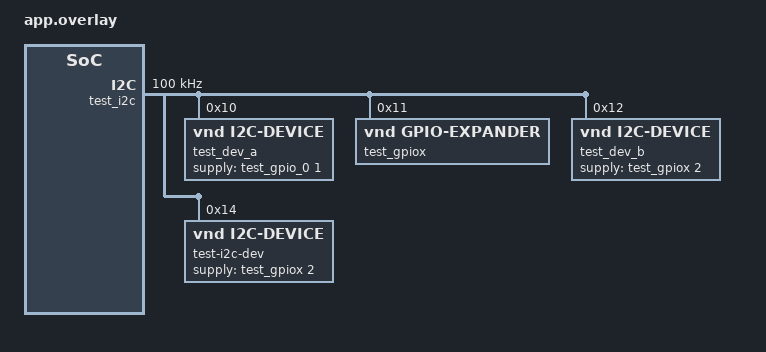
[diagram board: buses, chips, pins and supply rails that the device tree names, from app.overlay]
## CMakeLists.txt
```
# SPDX-License-Identifier: Apache-2.0

cmake_minimum_required(VERSION 3.20.0)

find_package(Zephyr REQUIRED HINTS $ENV{ZEPHYR_BASE})
project(devicetree_devices)

FILE(GLOB app_sources src/*.c)
target_sources(app PRIVATE ${app_sources})
```

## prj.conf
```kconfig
CONFIG_ZTEST=y
CONFIG_I2C=n
CONFIG_DEVICE_DEPS=y
CONFIG_CHECK_INIT_PRIORITIES=n
```

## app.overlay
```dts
/*
 * Copyright (c) 2020 Nordic Semiconductor ASA
 *
 * SPDX-License-Identifier: Apache-2.0
 *
 * Application overlay for testing the devicetree.h API.
 *
 * Names in this file should be chosen in a way that won't conflict
 * with real-world devicetree nodes, to allow these tests to run on
 * (and be extended to test) real hardware.
 */

/ {
	test {
		#address-cells = <0x1>;
		#size-cells = <0x1>;

		test_gpio_0: gpio@ffff {
			gpio-controller;
			#gpio-cells = <0x2>;
			compatible = "vnd,gpio-device";
			status = "okay";
			reg = <0xffff 0x1000>;
		};

		test_i2c: i2c@11112222 {
			#address-cells = <1>;
			#size-cells = <0>;
			compatible = "vnd,i2c";
			status = "okay";
			reg = <0x11112222 0x1000>;
			clock-frequency = <100000>;

			test_dev_a: test-i2c-dev@10 {
				compatible = "vnd,i2c-device";
				status = "okay";
				reg = <0x10>;
				supply-gpios = <&test_gpio_0 1 0>;
			};

			test_gpiox: test-i2c-dev@11 {
				gpio-controller;
				#gpio-cells = <2>;
				compatible = "vnd,gpio-expander";
				status = "okay";
				reg = <0x11>;
			};

			test_dev_b: test-i2c-dev@12 {
				compatible = "vnd,i2c-device";
				status = "okay";
				reg = <0x12>;
				supply-gpios = <&test_gpiox 2 0>;
			};

			test_dev_c: test-i2c-dev@13 {
				compatible = "vnd,i2c-device";
				reg = <0x13>;
				status = "disabled";

				partitions {
					compatible = "fixed-partitions";
					#address-cells = <1>;
					#size-cells = <1>;

					test_p0: partition@0 {
						label = "partition-0";
						reg = <0x00000000 0x0000C000>;
					};
					test_p1: partition@c000 {
						label = "partition-1";
						reg = <0x0000C000 0x00067000>;
					};
				};
			};

			test-i2c-dev@14 {
				compatible = "vnd,i2c-device";
				status = "okay";
				reg = <0x14>;
				supply-gpios = <&test_gpiox 2 0>;
			};
		};

		test_gpio_injected: gpio@1000 {
			gpio-controller;
			#gpio-cells = <0x2>;
			compatible = "vnd,gpio-device";
			status = "okay";
			reg = <0x1000 0x1000>;
		};
	};
};
```

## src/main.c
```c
/*
 * Copyright (c) 2020 Nordic Semiconductor ASA
 *
 * SPDX-License-Identifier: Apache-2.0
 */

#include <zephyr/ztest.h>
#include <zephyr/devicetree.h>
#include <zephyr/device.h>
#include <zephyr/drivers/gpio.h>

#define TEST_GPIO DT_NODELABEL(test_gpio_0)
#define TEST_I2C DT_NODELABEL(test_i2c)
#define TEST_DEVA DT_NODELABEL(test_dev_a)
#define TEST_GPIOX DT_NODELABEL(test_gpiox)
#define TEST_DEVB DT_NODELABEL(test_dev_b)
#define TEST_DEVC DT_NODELABEL(test_dev_c)
#define TEST_PARTITION DT_NODELABEL(test_p0)
#define TEST_GPIO_INJECTED DT_NODELABEL(test_gpio_injected)
#define TEST_NOLABEL DT_PATH(test, i2c_11112222, test_i2c_dev_14)

static const struct device *devlist;
static const struct device *devlist_end;

static device_handle_t init_order[10];

static int dev_init(const struct device *dev)
{
	static uint8_t init_idx;

	__ASSERT_NO_MSG(init_idx < ARRAY_SIZE(init_order));
	init_order[init_idx++] = device_handle_get(dev);

	return 0;
}

DEVICE_DT_DEFINE(TEST_GPIO, dev_init, NULL,
		 NULL, NULL, PRE_KERNEL_1, 90, NULL);
DEVICE_DT_DEFINE(TEST_I2C, dev_init, NULL,
		 NULL, NULL, POST_KERNEL, 10, NULL);
DEVICE_DT_DEFINE(TEST_DEVA, dev_init, NULL,
		 NULL, NULL, POST_KERNEL, 20, NULL);
/* NB: Intentional init devb before required gpiox */
DEVICE_DT_DEFINE(TEST_DEVB, dev_init, NULL,
		 NULL, NULL, POST_KERNEL, 30, NULL);
DEVICE_DT_DEFINE(TEST_GPIOX, dev_init, NULL,
		 NULL, NULL, POST_KERNEL, 40, NULL);
DEVICE_DT_DEFINE(TEST_DEVC, dev_init, NULL,
		 NULL, NULL, POST_KERNEL, 50, NULL);
DEVICE_DT_DEFINE(TEST_PARTITION, dev_init, NULL,
		 NULL, NULL, POST_KERNEL, 60, NULL);
/* Device with both an existing and missing injected dependency */
DEVICE_DT_DEFINE(TEST_GPIO_INJECTED, dev_init, NULL,
		 NULL, NULL, POST_KERNEL, 70, NULL, DT_DEP_ORD(TEST_DEVB), 999);
/* Manually specified device */
DEVICE_DEFINE(manual_dev, "Manual Device", dev_init, NULL,
		 NULL, NULL, POST_KERNEL, 80, NULL);
/* Device with no nodelabel */
DEVICE_DT_DEFINE(TEST_NOLABEL, dev_init, NULL,
		 NULL, NULL, POST_KERNEL, 90, NULL);

#define DEV_HDL(node_id) device_handle_get(DEVICE_DT_GET(node_id))
#define DEV_HDL_NAME(name) device_handle_get(DEVICE_GET(name))

ZTEST(devicetree_devices, test_init_get)
{
	/* Check device pointers */
	zassert_equal(DEVICE_INIT_DT_GET(TEST_GPIO)->dev,
		      DEVICE_DT_GET(TEST_GPIO), NULL);
	zassert_equal(DEVICE_INIT_DT_GET(TEST_I2C)->dev,
		      DEVICE_DT_GET(TEST_I2C), NULL);
	zassert_equal(DEVICE_INIT_DT_GET(TEST_DEVA)->dev,
		      DEVICE_DT_GET(TEST_DEVA), NULL);
	zassert_equal(DEVICE_INIT_DT_GET(TEST_DEVB)->dev,
		      DEVICE_DT_GET(TEST_DEVB), NULL);
	zassert_equal(DEVICE_INIT_DT_GET(TEST_GPIOX)->dev,
		      DEVICE_DT_GET(TEST_GPIOX), NULL);
	zassert_equal(DEVICE_INIT_DT_GET(TEST_DEVC)->dev,
		      DEVICE_DT_GET(TEST_DEVC), NULL);
	zassert_equal(DEVICE_INIT_DT_GET(TEST_PARTITION)->dev,
		      DEVICE_DT_GET(TEST_PARTITION), NULL);
	zassert_equal(DEVICE_INIT_DT_GET(TEST_GPIO_INJECTED)->dev,
		      DEVICE_DT_GET(TEST_GPIO_INJECTED), NULL);
	zassert_equal(DEVICE_INIT_GET(manual_dev)->dev,
		      DEVICE_GET(manual_dev), NULL);
	zassert_equal(DEVICE_INIT_DT_GET(TEST_NOLABEL)->dev,
		      DEVICE_DT_GET(TEST_NOLABEL), NULL);

	/* Check init functions */
	zassert_equal(DEVICE_INIT_DT_GET(TEST_GPIO)->init_fn.dev, dev_init);
	zassert_equal(DEVICE_INIT_DT_GET(TEST_I2C)->init_fn.dev, dev_init);
	zassert_equal(DEVICE_INIT_DT_GET(TEST_DEVA)->init_fn.dev, dev_init);
	zassert_equal(DEVICE_INIT_DT_GET(TEST_DEVB)->init_fn.dev, dev_init);
	zassert_equal(DEVICE_INIT_DT_GET(TEST_GPIOX)->init_fn.dev, dev_init);
	zassert_equal(DEVICE_INIT_DT_GET(TEST_DEVC)->init_fn.dev, dev_init);
	zassert_equal(DEVICE_INIT_DT_GET(TEST_PARTITION)->init_fn.dev, dev_init);
	zassert_equal(DEVICE_INIT_DT_GET(TEST_GPIO_INJECTED)->init_fn.dev, dev_init);
	zassert_equal(DEVICE_INIT_GET(manual_dev)->init_fn.dev, dev_init);
	zassert_equal(DEVICE_INIT_DT_GET(TEST_NOLABEL)->init_fn.dev, dev_init);
}

ZTEST(devicetree_devices, test_init_order)
{
	zassert_equal(init_order[0], DEV_HDL(TEST_GPIO));
	zassert_equal(init_order[1], DEV_HDL(TEST_I2C));
	zassert_equal(init_order[2], DEV_HDL(TEST_DEVA));
	zassert_equal(init_order[3], DEV_HDL(TEST_DEVB));
	zassert_equal(init_order[4], DEV_HDL(TEST_GPIOX));
	zassert_equal(init_order[5], DEV_HDL(TEST_DEVC));
	zassert_equal(init_order[6], DEV_HDL(TEST_PARTITION));
	zassert_equal(init_order[7], DEV_HDL(TEST_GPIO_INJECTED));
	zassert_equal(init_order[8], DEV_HDL_NAME(manual_dev));
	zassert_equal(init_order[9], DEV_HDL(TEST_NOLABEL));
}

static bool check_handle(device_handle_t hdl,
			 const device_handle_t *hdls,
			 size_t nhdls)
{
	const device_handle_t *hdle = hdls + nhdls;

	while (hdls < hdle) {
		if (*hdls == hdl) {
			return true;
		}
		++hdls;
	}

	return false;
}

struct visitor_context {
	uint8_t ndevs;
	const struct device *rdevs[2];
};

static int device_visitor(const struct device *dev,
			  void *context)
{
	struct visitor_context *ctx = context;
	const struct device **rdp = ctx->rdevs;

	while (rdp < (ctx->rdevs + ctx->ndevs)) {
		if (*rdp == NULL) {
			*rdp = dev;
			return 0;
		}

		++rdp;
	}

	return -ENOSPC;
}

ZTEST(devicetree_devices, test_requires)
{
	size_t nhdls = 0;
	const device_handle_t *hdls;
	const struct device *dev;
	struct visitor_context ctx = { 0 };

	/* TEST_GPIO: no req */
	dev = device_get_binding(DEVICE_DT_NAME(TEST_GPIO));
	zassert_equal(dev, DEVICE_DT_GET(TEST_GPIO));
	hdls = device_required_handles_get(dev, &nhdls);
	zassert_equal(nhdls, 0);
	zassert_equal(0, device_required_foreach(dev, device_visitor, &ctx),
		      NULL);

	/* TEST_GPIO_INJECTED: no req */
	dev = device_get_binding(DEVICE_DT_NAME(TEST_GPIO_INJECTED));
	zassert_equal(dev, DEVICE_DT_GET(TEST_GPIO_INJECTED));
	hdls = device_required_handles_get(dev, &nhdls);
	zassert_equal(nhdls, 0);
	zassert_equal(0, device_required_foreach(dev, device_visitor, &ctx),
		      NULL);

	/* TEST_I2C: no req */
	dev = device_get_binding(DEVICE_DT_NAME(TEST_I2C));
	zassert_equal(dev, DEVICE_DT_GET(TEST_I2C));
	hdls = device_required_handles_get(dev, &nhdls);
	zassert_equal(nhdls, 0);
	zassert_equal(0, device_required_foreach(dev, device_visitor, &ctx),
		      NULL);

	/* TEST_DEVA: TEST_I2C GPIO */
	dev = device_get_binding(DEVICE_DT_NAME(TEST_DEVA));
	zassert_equal(dev, DEVICE_DT_GET(TEST_DEVA));
	hdls = device_required_handles_get(dev, &nhdls);
	zassert_equal(nhdls, 2);
	zassert_true(check_handle(DEV_HDL(TEST_I2C), hdls, nhdls));
	zassert_true(check_handle(DEV_HDL(TEST_GPIO), hdls, nhdls));

	/* Visit fails if not enough space */
	ctx = (struct visitor_context){
		.ndevs = 1,
	};
	zassert_equal(-ENOSPC, device_required_foreach(dev, device_visitor, &ctx),
		      NULL);

	/* Visit succeeds if enough space. */
	ctx = (struct visitor_context){
		.ndevs = 2,
	};
	zassert_equal(2, device_required_foreach(dev, device_visitor, &ctx),
		      NULL);
	zassert_true((ctx.rdevs[0] == device_from_handle(DEV_HDL(TEST_I2C)))
		     || (ctx.rdevs[1] == device_from_handle(DEV_HDL(TEST_I2C))),
		     NULL);
	zassert_true((ctx.rdevs[0] == device_from_handle(DEV_HDL(TEST_GPIO)))
		     || (ctx.rdevs[1] == device_from_handle(DEV_HDL(TEST_GPIO))),
		     NULL);

	/* TEST_GPIOX: TEST_I2C */
	dev = device_get_binding(DEVICE_DT_NAME(TEST_GPIOX));
	zassert_equal(dev, DEVICE_DT_GET(TEST_GPIOX));
	hdls = device_required_handles_get(dev, &nhdls);
	zassert_equal(nhdls, 1);
	zassert_true(check_handle(DEV_HDL(TEST_I2C), hdls, nhdls));
	ctx = (struct visitor_context){
		.ndevs = 3,
	};
	zassert_equal(1, device_required_foreach(dev, device_visitor, &ctx),
		      NULL);
	zassert_true(ctx.rdevs[0] == device_from_handle(DEV_HDL(TEST_I2C)),
		     NULL);

	/* TEST_DEVB: TEST_I2C TEST_GPIOX */
	dev = device_get_binding(DEVICE_DT_NAME(TEST_DEVB));
	zassert_equal(dev, DEVICE_DT_GET(TEST_DEVB));
	hdls = device_required_handles_get(dev, &nhdls);
	zassert_equal(nhdls, 2);
	zassert_true(check_handle(DEV_HDL(TEST_I2C), hdls, nhdls));
	zassert_true(check_handle(DEV_HDL(TEST_GPIOX), hdls, nhdls));

	/* TEST_GPIO_INJECTED: NONE */
	dev = device_get_binding(DEVICE_DT_NAME(TEST_GPIO_INJECTED));
	zassert_equal(dev, DEVICE_DT_GET(TEST_GPIO_INJECTED));
	hdls = device_required_handles_get(dev, &nhdls);
	zassert_equal(nhdls, 0);
}

ZTEST(devicetree_devices, test_injected)
{
	size_t nhdls = 0;
	const device_handle_t *hdls;
	const struct device *dev;

	/* TEST_GPIO: NONE */
	dev = device_get_binding(DEVICE_DT_NAME(TEST_GPIO));
	hdls = device_injected_handles_get(dev, &nhdls);
	zassert_equal(nhdls, 0);

	/* TEST_DEVB: NONE */
	dev = device_get_binding(DEVICE_DT_NAME(TEST_DEVB));
	hdls = device_injected_handles_get(dev, &nhdls);
	zassert_equal(nhdls, 0);

	/* TEST_GPIO_INJECTED: TEST_DEVB */
	dev = device_get_binding(DEVICE_DT_NAME(TEST_GPIO_INJECTED));
	hdls = device_injected_handles_get(dev, &nhdls);
	zassert_equal(nhdls, 1);
	zassert_true(check_handle(DEV_HDL(TEST_DEVB), hdls, nhdls));
}

ZTEST(devicetree_devices, test_get_or_null)
{
	const struct device *dev;

	dev = DEVICE_DT_GET_OR_NULL(TEST_DEVA);
	zassert_not_equal(dev, NULL, NULL);

	dev = DEVICE_DT_GET_OR_NULL(non_existing_node);
	zassert_is_null(dev);
}

ZTEST(devicetree_devices, test_supports)
{
	size_t nhdls = 0;
	const device_handle_t *hdls;
	const struct device *dev;
	struct visitor_context ctx = { 0 };

	/* TEST_DEVB: None */
	dev = DEVICE_DT_GET(TEST_DEVB);
	hdls = device_supported_handles_get(dev, &nhdls);
	zassert_equal(nhdls, 1);
	zassert_true(check_handle(DEV_HDL(TEST_GPIO_INJECTED), hdls, nhdls));

	/* TEST_GPIO_INJECTED: None */
	dev = DEVICE_DT_GET(TEST_GPIO_INJECTED);
	hdls = device_supported_handles_get(dev, &nhdls);
	zassert_equal(nhdls, 0);

	/* TEST_GPIO: TEST_DEVA */
	dev = DEVICE_DT_GET(TEST_GPIO);
	hdls = device_supported_handles_get(dev, &nhdls);
	zassert_equal(nhdls, 1);
	zassert_true(check_handle(DEV_HDL(TEST_DEVA), hdls, nhdls));

	/* Visit fails if not enough space */
	ctx = (struct visitor_context){
		.ndevs = 0,
	};
	zassert_equal(-ENOSPC, device_supported_foreach(dev, device_visitor, &ctx));

	/* Visit succeeds if enough space. */
	ctx = (struct visitor_context){
		.ndevs = 1,
	};
	zassert_equal(1, device_supported_foreach(dev, device_visitor, &ctx));
	zassert_true(ctx.rdevs[0] == device_from_handle(DEV_HDL(TEST_DEVA)));

	/* TEST_I2C: TEST_DEVA TEST_GPIOX TEST_DEVB TEST_DEVC */
	dev = DEVICE_DT_GET(TEST_I2C);
	hdls = device_supported_handles_get(dev, &nhdls);
	zassert_equal(nhdls, 5);
	zassert_true(check_handle(DEV_HDL(TEST_DEVA), hdls, nhdls));
	zassert_true(check_handle(DEV_HDL(TEST_GPIOX), hdls, nhdls));
	zassert_true(check_handle(DEV_HDL(TEST_DEVB), hdls, nhdls));
	zassert_true(check_handle(DEV_HDL(TEST_DEVC), hdls, nhdls));
	zassert_true(check_handle(DEV_HDL(TEST_NOLABEL), hdls, nhdls));

	/* Support forwarding (intermediate missing devicetree node)
	 * TEST_DEVC: TEST_PARTITION
	 */
	dev = DEVICE_DT_GET(TEST_DEVC);
	hdls = device_supported_handles_get(dev, &nhdls);
	zassert_equal(nhdls, 1);
	zassert_true(check_handle(DEV_HDL(TEST_PARTITION), hdls, nhdls));
}

void *devicetree_devices_setup(void)
{
	size_t ndevs;

	ndevs = z_device_get_all_static(&devlist);
	devlist_end = devlist + ndevs;

	return NULL;
}
ZTEST_SUITE(devicetree_devices, NULL, devicetree_devices_setup, NULL, NULL, NULL);
```
